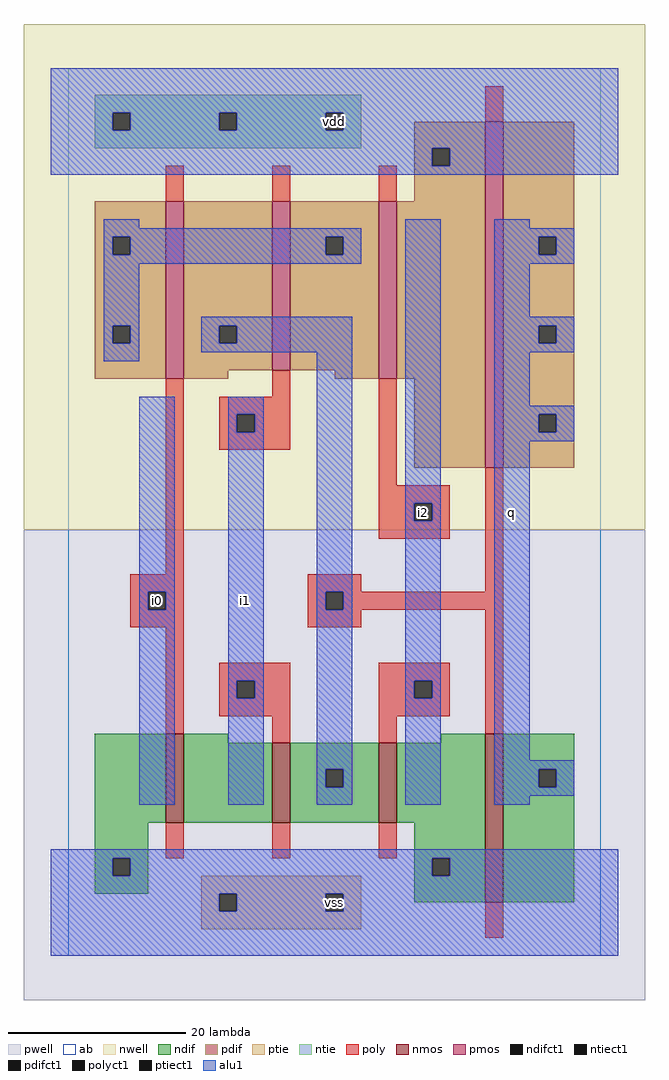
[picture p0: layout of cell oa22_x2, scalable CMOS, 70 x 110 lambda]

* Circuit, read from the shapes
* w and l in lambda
.subckt oa22_x2 i0 i1 i2 q vdd vss
M1 n1 i0 vss vss nfet w=10 l=2
M2 n2 i1 n1 vss nfet w=9 l=2
M3 vss i2 n2 vss nfet w=9 l=2
M4 q n2 vss vss nfet w=19 l=2
M5 n2 i0 n3 vdd pfet w=20 l=2
M6 n3 i1 n2 vdd pfet w=19 l=2
M7 vdd i2 n3 vdd pfet w=20 l=2
M8 q n2 vdd vdd pfet w=39 l=2
.ends

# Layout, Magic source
magic
tech scmos
<< ab >>
rect 0 0 60 100
<< nwell >>
rect -5 48 65 105
<< pwell >>
rect -5 -5 65 48
<< poly >>
rect 47 94 49 98
rect 11 85 13 89
rect 23 85 25 89
rect 35 85 37 89
rect 11 43 13 65
rect 23 63 25 66
rect 17 61 25 63
rect 17 59 19 61
rect 21 59 25 61
rect 17 57 25 59
rect 35 53 37 65
rect 35 51 43 53
rect 35 49 39 51
rect 41 49 43 51
rect 35 47 43 49
rect 7 41 13 43
rect 7 39 9 41
rect 11 39 13 41
rect 7 37 13 39
rect 27 41 33 43
rect 47 41 49 55
rect 27 39 29 41
rect 31 39 49 41
rect 27 37 33 39
rect 11 25 13 37
rect 17 31 25 33
rect 17 29 19 31
rect 21 29 25 31
rect 17 27 25 29
rect 23 24 25 27
rect 35 31 43 33
rect 35 29 39 31
rect 41 29 43 31
rect 35 27 43 29
rect 35 24 37 27
rect 47 25 49 39
rect 11 11 13 15
rect 23 11 25 15
rect 35 11 37 15
rect 47 2 49 6
<< ndif >>
rect 3 15 11 25
rect 13 24 18 25
rect 42 24 47 25
rect 13 15 23 24
rect 25 21 35 24
rect 25 19 29 21
rect 31 19 35 21
rect 25 15 35 19
rect 37 15 47 24
rect 3 11 9 15
rect 39 11 47 15
rect 3 9 5 11
rect 7 9 9 11
rect 39 9 41 11
rect 43 9 47 11
rect 3 7 9 9
rect 39 6 47 9
rect 49 21 57 25
rect 49 19 53 21
rect 55 19 57 21
rect 49 6 57 19
<< pdif >>
rect 39 91 47 94
rect 39 89 41 91
rect 43 89 47 91
rect 39 85 47 89
rect 3 81 11 85
rect 3 79 5 81
rect 7 79 11 81
rect 3 71 11 79
rect 3 69 5 71
rect 7 69 11 71
rect 3 65 11 69
rect 13 71 23 85
rect 13 69 17 71
rect 19 69 23 71
rect 13 66 23 69
rect 25 81 35 85
rect 25 79 29 81
rect 31 79 35 81
rect 25 66 35 79
rect 13 65 18 66
rect 30 65 35 66
rect 37 65 47 85
rect 39 55 47 65
rect 49 81 57 94
rect 49 79 53 81
rect 55 79 57 81
rect 49 71 57 79
rect 49 69 53 71
rect 55 69 57 71
rect 49 61 57 69
rect 49 59 53 61
rect 55 59 57 61
rect 49 55 57 59
<< alu1 >>
rect -2 95 62 100
rect -2 93 5 95
rect 7 93 17 95
rect 19 93 29 95
rect 31 93 62 95
rect -2 91 62 93
rect -2 89 41 91
rect 43 89 62 91
rect -2 88 62 89
rect 4 82 8 83
rect 4 81 33 82
rect 4 79 5 81
rect 7 79 29 81
rect 31 79 33 81
rect 4 78 33 79
rect 4 71 8 78
rect 4 69 5 71
rect 7 69 8 71
rect 4 67 8 69
rect 15 71 32 72
rect 15 69 17 71
rect 19 69 32 71
rect 15 68 32 69
rect 8 41 12 63
rect 8 39 9 41
rect 11 39 12 41
rect 8 17 12 39
rect 18 61 22 63
rect 18 59 19 61
rect 21 59 22 61
rect 18 31 22 59
rect 18 29 19 31
rect 21 29 22 31
rect 18 17 22 29
rect 28 41 32 68
rect 28 39 29 41
rect 31 39 32 41
rect 28 21 32 39
rect 28 19 29 21
rect 31 19 32 21
rect 28 17 32 19
rect 38 51 42 83
rect 38 49 39 51
rect 41 49 42 51
rect 38 31 42 49
rect 38 29 39 31
rect 41 29 42 31
rect 38 17 42 29
rect 48 82 52 83
rect 48 81 57 82
rect 48 79 53 81
rect 55 79 57 81
rect 48 78 57 79
rect 48 72 52 78
rect 48 71 57 72
rect 48 69 53 71
rect 55 69 57 71
rect 48 68 57 69
rect 48 62 52 68
rect 48 61 57 62
rect 48 59 53 61
rect 55 59 57 61
rect 48 58 57 59
rect 48 22 52 58
rect 48 21 57 22
rect 48 19 53 21
rect 55 19 57 21
rect 48 18 57 19
rect 48 17 52 18
rect -2 11 62 12
rect -2 9 5 11
rect 7 9 41 11
rect 43 9 62 11
rect -2 7 62 9
rect -2 5 17 7
rect 19 5 29 7
rect 31 5 62 7
rect -2 0 62 5
<< ptie >>
rect 15 7 33 9
rect 15 5 17 7
rect 19 5 29 7
rect 31 5 33 7
rect 15 3 33 5
<< ntie >>
rect 3 95 33 97
rect 3 93 5 95
rect 7 93 17 95
rect 19 93 29 95
rect 31 93 33 95
rect 3 91 33 93
<< nmos >>
rect 11 15 13 25
rect 23 15 25 24
rect 35 15 37 24
rect 47 6 49 25
<< pmos >>
rect 11 65 13 85
rect 23 66 25 85
rect 35 65 37 85
rect 47 55 49 94
<< polyct1 >>
rect 19 59 21 61
rect 39 49 41 51
rect 9 39 11 41
rect 29 39 31 41
rect 19 29 21 31
rect 39 29 41 31
<< ndifct1 >>
rect 29 19 31 21
rect 5 9 7 11
rect 41 9 43 11
rect 53 19 55 21
<< ntiect1 >>
rect 5 93 7 95
rect 17 93 19 95
rect 29 93 31 95
<< ptiect1 >>
rect 17 5 19 7
rect 29 5 31 7
<< pdifct1 >>
rect 41 89 43 91
rect 5 79 7 81
rect 5 69 7 71
rect 17 69 19 71
rect 29 79 31 81
rect 53 79 55 81
rect 53 69 55 71
rect 53 59 55 61
<< labels >>
rlabel polyct1 10 40 10 40 6 i0
rlabel alu1 20 40 20 40 6 i1
rlabel ptiect1 30 6 30 6 6 vss
rlabel polyct1 40 50 40 50 6 i2
rlabel ntiect1 30 94 30 94 6 vdd
rlabel alu1 50 50 50 50 6 q
<< end >>
